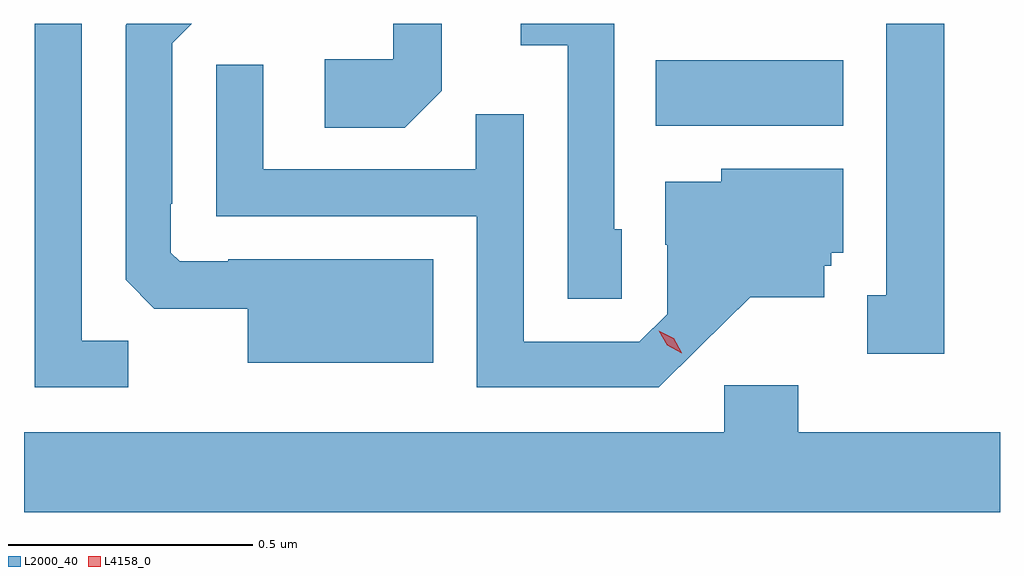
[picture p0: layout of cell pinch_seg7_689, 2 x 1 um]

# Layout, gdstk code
import gdstk
lib = gdstk.Library(unit=1e-6, precision=1e-09)
def R(c, l, rs):  # rectangles x0, y0, x1, y1
    for r in rs: c.add(gdstk.rectangle(r[:2], r[2:], *l))
def P(c, l, *ps):  # polygons
    for p in ps: c.add(gdstk.Polygon(p, *l))
L2000_40 = (2000, 40)
L4158_0 = (4158, 0)

pinch_seg7_689 = lib.new_cell('pinch_seg7_689')
R(pinch_seg7_689, L2000_40, [(134.038,1008.068,134.422,1008.202)])
P(pinch_seg7_689, L2000_40, [(132.957,1007.627),(132.861,1007.627),(132.861,1008.277),(132.765,1008.277),(132.765,1007.532),(132.957,1007.532)],
  [(133.599,1008.14),(133.599,1008.277),(133.5,1008.277),(133.5,1008.204),(133.359,1008.204),(133.359,1008.064),(133.523,1008.064)],
  [(134.629,1008.277),(134.51,1008.277),(134.51,1007.721),(134.471,1007.721),(134.471,1007.601),(134.629,1007.601)],
  [(133.968,1007.856),(133.953,1007.856),(133.953,1008.277),(133.761,1008.277),(133.761,1008.233),(133.857,1008.233),(133.857,1007.713),(133.968,1007.713)],
  [(133.582,1007.794),(133.162,1007.794),(133.162,1007.79),(133.062,1007.79),(133.044,1007.808),(133.044,1007.908),(133.047,1007.908),(133.047,1008.237),(133.087,1008.277),(132.954,1008.277),(132.951,1008.274),(132.951,1007.752),(133.01,1007.693),(133.202,1007.693),(133.202,1007.582),(133.582,1007.582)],
  [(134.128,1007.615),(134.231,1007.717),(134.383,1007.717),(134.383,1007.781),(134.397,1007.781),(134.397,1007.808),(134.422,1007.808),(134.422,1007.98),(134.172,1007.98),(134.172,1007.953),(134.057,1007.953),(134.057,1007.824),(134.061,1007.824),(134.061,1007.682),(134.004,1007.625),(133.767,1007.625),(133.767,1008.092),(133.669,1008.092),(133.669,1007.979),(133.233,1007.979),(133.233,1008.193),(133.137,1008.193),(133.137,1007.883),(133.671,1007.883),(133.671,1007.532),(134.044,1007.532)],
  [(134.743,1007.44),(134.33,1007.44),(134.33,1007.536),(134.178,1007.536),(134.178,1007.44),(132.743,1007.44),(132.743,1007.276),(134.743,1007.276)])
P(pinch_seg7_689, L4158_0, [(134.091,1007.602),(134.061,1007.618),(134.044,1007.648),(134.044,1007.648),(134.044,1007.648),(134.074,1007.633),(134.091,1007.603),(134.091,1007.602)])

lib.write_gds('pinch_seg7_689.gds')
